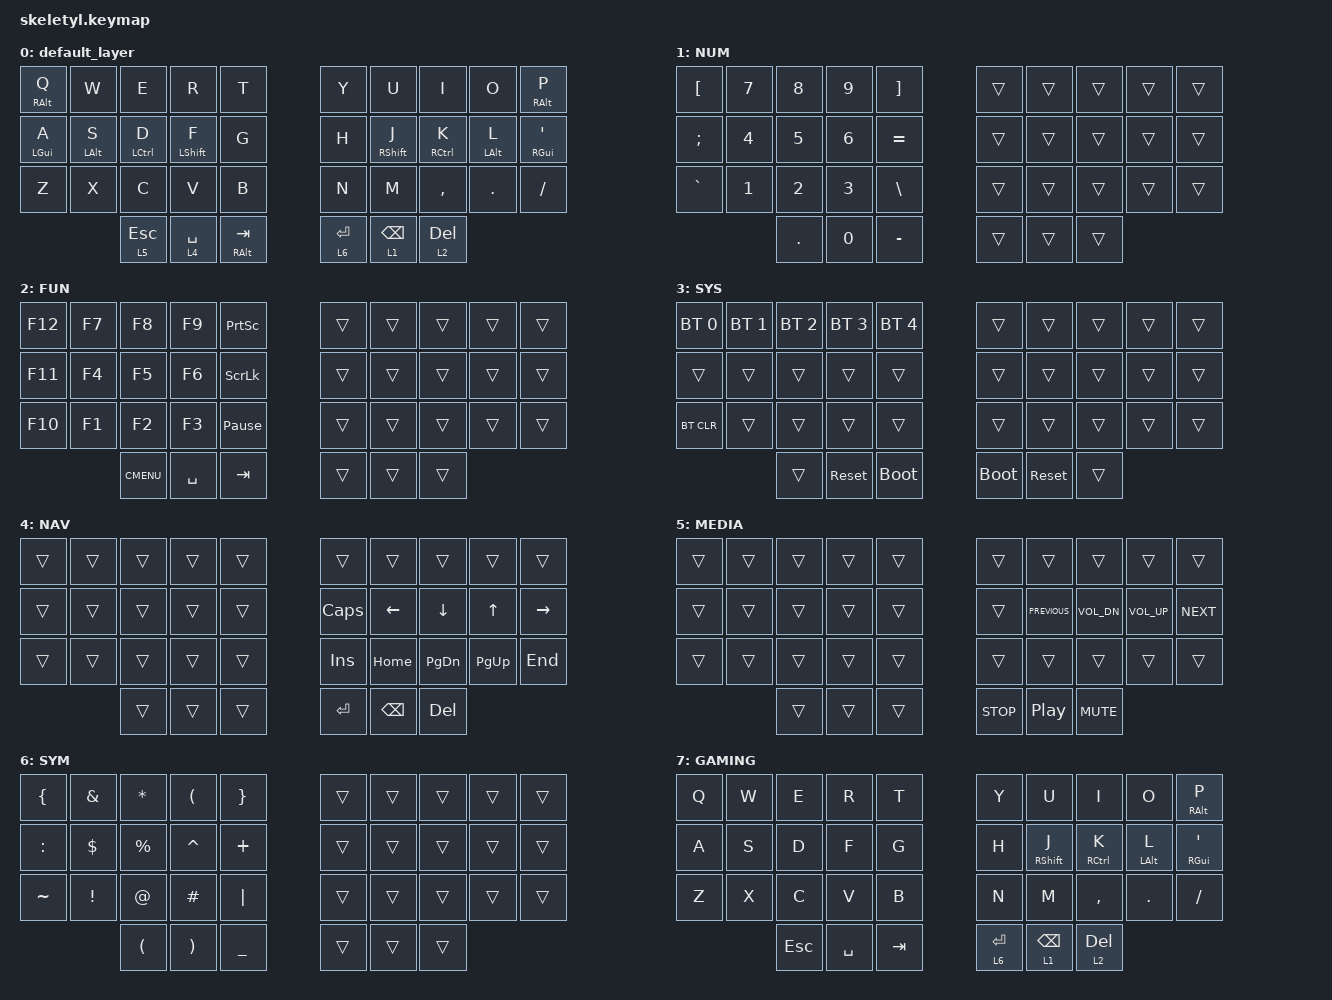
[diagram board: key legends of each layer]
/*
 * Copyright (c) 2020 The ZMK Contributors
 *
 * SPDX-License-Identifier: MIT
 */

#include <behaviors.dtsi>
#include <dt-bindings/zmk/keys.h>
#include <dt-bindings/zmk/bt.h>

#define BASE 0
#define NUM  1
#define FUN  2
#define SYS  3
#define NAV  4
#define MEDIA 5
#define SYM   6
#define GAMING 7

#define LEFT_KEYS  0 1 2 3 4 10 11 12 13 14 20 21 22 23 24 30 31 32 33 34 35 16 17 18 19
#define RIGHT_KEYS 5 6 7 8 9 15 16 17 18 19 25 26 27 28 29 30 31 32 33 34 35 10 11 12 13

#define THUMB_TERM 1000
#define HOME_TERM  1000
#define PINKY_TERM 1000

/ {
    behaviors {
         pnk: pinky_positional_hold_tap {
            compatible = "zmk,behavior-hold-tap";
            label = "PINKY_POSITIONAL_HOLD_TAP";
            #binding-cells = <2>;
            flavor = "balanced";
            tapping-term-ms = <PINKY_TERM>;// <---[[produces tap if held longer than tapping-term-ms]]

            bindings =
                <&kp>,
                <&kp>;
        };
        hml: left_hand_positional_hold_tap {
            compatible = "zmk,behavior-hold-tap";
            label = "LEFT_POSITIONAL_HOLD_TAP";
            #binding-cells = <2>;
            flavor = "balanced";
            tapping-term-ms = <HOME_TERM>;// <---[[produces tap if held longer than tapping-term-ms]]

            bindings =
                <&kp>,
                <&kp>;

            hold-trigger-key-positions = <RIGHT_KEYS>;
        };
        hmr: right_hand_positional_hold_tap {
            compatible = "zmk,behavior-hold-tap";
            label = "RIGHT_POSITIONAL_HOLD_TAP";
            #binding-cells = <2>;
            flavor = "balanced";
            tapping-term-ms = <HOME_TERM>;// <---[[produces tap if held longer than tapping-term-ms]]

            bindings =
                <&kp>,
                <&kp>;

            hold-trigger-key-positions = <LEFT_KEYS>;
        };
        hmll: left_hand_positional_hold_tap_layer {
            compatible = "zmk,behavior-hold-tap";
            label = "LEFT_POSITIONAL_HOLD_TAP_LAYER";
            #binding-cells = <2>;
            flavor = "hold-preferred";
            tapping-term-ms = <THUMB_TERM>;// <---[[produces tap if held longer than tapping-term-ms]]

            bindings =
                <&mo>,
                <&kp>;

            hold-trigger-key-positions = <RIGHT_KEYS>;
        };
        hmrl: right_hand_positional_hold_tap_layer {
            compatible = "zmk,behavior-hold-tap";
            label = "RIGHT_POSITIONAL_HOLD_TAP_LAYER";
            #binding-cells = <2>;
            flavor = "hold-preferred";
            tapping-term-ms = <THUMB_TERM>;// <---[[produces tap if held longer than tapping-term-ms]]

            bindings =
                <&mo>,
                <&kp>;

            hold-trigger-key-positions = <LEFT_KEYS>;

        };

        plchar: polish_chars {
            compatible = "zmk,behavior-hold-tap";
            label = "POLISH_CHARS";
            #binding-cells = <2>;
            flavor = "hold-preferred";
            tapping-term-ms = <THUMB_TERM>;// <---[[produces tap if held longer than tapping-term-ms]]

            bindings =
                <&kp>,
                <&kp>;
        };
    };

    combos {
        compatible = "zmk,combos";
        combo_meta {
            timeout-ms = <50>;
            key-positions = <10 19>;
            bindings = <&kp LGUI>;
        };

//        combo_ralt_left {
//            timeout-ms = <10>;
//            key-positions = <1 2>; // we
//            bindings = <&kp RALT>;
//        };
//
//        combo_ralt_right {
//            timeout-ms = <10>;
//            key-positions = <7 8>; // io
//            bindings = <&kp RALT>;
//        };

        combo_bt_layer {
            timeout-ms = <100>;
            key-positions = <33 34>; // enter bspace
            bindings = <&mo SYS>;
        };

        combo_gaming {
          timeout-ms = <100>;
          key-positions = <1 2 7 8>;
          bindings = <&tog GAMING>;
        };
    };

    macros {
        mcopy: mcopy {
            label = "mcopy";
            compatible = "zmk,behavior-macro";
            #binding-cells = <0>;
            bindings =
                <&macro_press>,
                <&kp LCTRL>,
                <&macro_tap>,
                <&kp C>,
                <&macro_release>,
                <&kp LCTRL>;
        };
        mpaste: mpaste {
            label = "mpaste";
            compatible = "zmk,behavior-macro";
            #binding-cells = <0>;
            bindings =
                <&macro_press>,
                <&kp LCTRL>,
                <&macro_tap>,
                <&kp V>,
                <&macro_release>,
                <&kp LCTRL>;
        };
        mcut: mcut {
            label = "mcut";
            compatible = "zmk,behavior-macro";
            #binding-cells = <0>;
            bindings =
                <&macro_press>,
                <&kp LCTRL>,
                <&macro_tap>,
                <&kp X>,
                <&macro_release>,
                <&kp LCTRL>;
        };
        mredo: mredo {
            compatible = "zmk,behavior-macro";
            label = "mredo";
            #binding-cells = <0>;
            bindings =
                <&macro_press>,
                <&kp LCTRL>,
                <&macro_press>,
                <&kp LSHIFT>,
                <&macro_tap>,
                <&kp Z>,
                <&macro_release>,
                <&kp LSHIFT>,
                <&macro_release>,
                <&kp LCTRL>;
        };
        mundo: mundo {
            compatible = "zmk,behavior-macro";
            label = "mundo";
            #binding-cells = <0>;
            bindings =
                <&macro_press>,
                <&kp LCTRL>,
                <&macro_tap>,
                <&kp Z>,
                <&macro_release>,
                <&kp LCTRL>;
        };
    };

    keymap {
        compatible = "zmk,keymap";

        default_layer {
            bindings = <
     &hml RALT Q        &kp W         &kp E          &kp R     &kp T                  &kp Y              &kp U           &kp I        &kp O                &hmr RALT P
     &hml LGUI A  &hml LALT S  &hml LCTRL D  &hml LSHIFT F     &kp G                  &kp H      &hmr RSHIFT J    &hmr RCTRL K  &hmr LALT L  &hmr RGUI APOSTROPHE
           &kp Z        &kp X         &kp C          &kp V     &kp B                  &kp N              &kp M        &kp CMMA      &kp DOT            &kp SLASH
                          &hmll 5 ESC  &hmll 4 SPACE   &plchar RALT TAB                  &hmrl 6 ENTER  &hmrl 1 BACKSPACE  &hmrl 2 DELETE
            >;
        };

        NUM {
            bindings = <
  &kp LEFT_BRACKET  &kp N7   &kp N8  &kp N9  &kp RIGHT_BRACKET          &trans  &trans  &trans  &trans  &trans
     &kp SEMICOLON  &kp N4   &kp N5  &kp N6          &kp EQUAL          &trans  &trans  &trans  &trans  &trans
         &kp GRAVE  &kp N1   &kp N2  &kp N3      &kp BACKSLASH          &trans  &trans  &trans  &trans  &trans
                                   &kp DOT  &kp N0          &kp MINUS          &trans  &trans  &trans
            >;
        };

        FUN {
            bindings = <
  &kp F12  &kp F7       &kp F8     &kp F9  &kp PRINTSCREEN          &trans  &trans  &trans  &trans  &trans
   &kp F11  &kp F4       &kp F5     &kp F6   &kp SCROLLLOCK          &trans  &trans  &trans  &trans  &trans
   &kp F10  &kp F1       &kp F2     &kp F3  &kp PAUSE_BREAK          &trans  &trans  &trans  &trans  &trans
                          &kp K_CMENU  &kp SPACE          &kp TAB          &trans  &trans  &trans
            >;
        };

        SYS {
            bindings = <
       &bt BT_SEL 0  &bt BT_SEL 1  &bt BT_SEL 2  &bt BT_SEL 3  &bt BT_SEL 4               &trans  &trans  &trans  &trans  &trans
             &trans        &trans        &trans        &trans        &trans               &trans  &trans  &trans  &trans  &trans
 &bt BT_CLR                &trans        &trans        &trans        &trans               &trans  &trans  &trans  &trans  &trans
                                         &trans        &sys_reset    &bootloader          &bootloader  &sys_reset  &trans
            >;
        };

        NAV {
            bindings = <
   &trans  &trans  &trans  &trans  &trans                &trans        &trans         &trans      &trans     &trans
   &trans  &trans  &trans  &trans  &trans          &kp CAPSLOCK       &kp LEFT       &kp DOWN     &kp UP  &kp RIGHT
   &trans  &trans  &trans  &trans  &trans            &kp INSERT       &kp HOME  &kp PAGE_DOWN  &kp PG_UP    &kp END
                         &trans  &trans  &trans             &kp ENTER  &kp BACKSPACE     &kp DELETE
            >;
        };

        MEDIA {
            bindings = <
   &trans  &trans  &trans  &trans  &trans              &trans            &trans        &trans        &trans      &trans
   &trans  &trans  &trans  &trans  &trans              &trans    &kp C_PREVIOUS  &kp C_VOL_DN  &kp C_VOL_UP  &kp C_NEXT
   &trans  &trans  &trans  &trans  &trans              &trans            &trans        &trans        &trans      &trans
                         &trans  &trans  &trans          &kp C_STOP  &kp C_PLAY_PAUSE    &kp C_MUTE
            >;
        };

        SYM {
            bindings = <
   &kp LEFT_BRACE    &kp AMPERSAND              &kp STAR   &kp LEFT_PARENTHESIS  &kp RIGHT_BRACE          &trans  &trans  &trans  &trans  &trans
        &kp COLON       &kp DOLLAR           &kp PERCENT              &kp CARET         &kp PLUS          &trans  &trans  &trans  &trans  &trans
        &kp TILDE  &kp EXCLAMATION                &kp AT               &kp HASH         &kp PIPE          &trans  &trans  &trans  &trans  &trans
                                          &kp LEFT_PARENTHESIS  &kp RIGHT_PARENTHESIS   &kp UNDERSCORE          &trans  &trans  &trans
            >;
        };

        GAMING {
           bindings = <
     &kp Q        &kp W         &kp E          &kp R     &kp T                  &kp Y              &kp U           &kp I        &kp O                &hmr RALT P
     &kp A  &kp S  &kp D  &kp F     &kp G                  &kp H      &hmr RSHIFT J    &hmr RCTRL K  &hmr LALT L  &hmr RGUI APOSTROPHE
           &kp Z        &kp X         &kp C          &kp V     &kp B                  &kp N              &kp M        &kp CMMA      &kp DOT            &kp SLASH
                          &kp ESC  &kp SPACE   &kp TAB                  &hmrl 6 ENTER  &hmrl 1 BACKSPACE  &hmrl 2 DELETE
          >;
        };
    };
};
